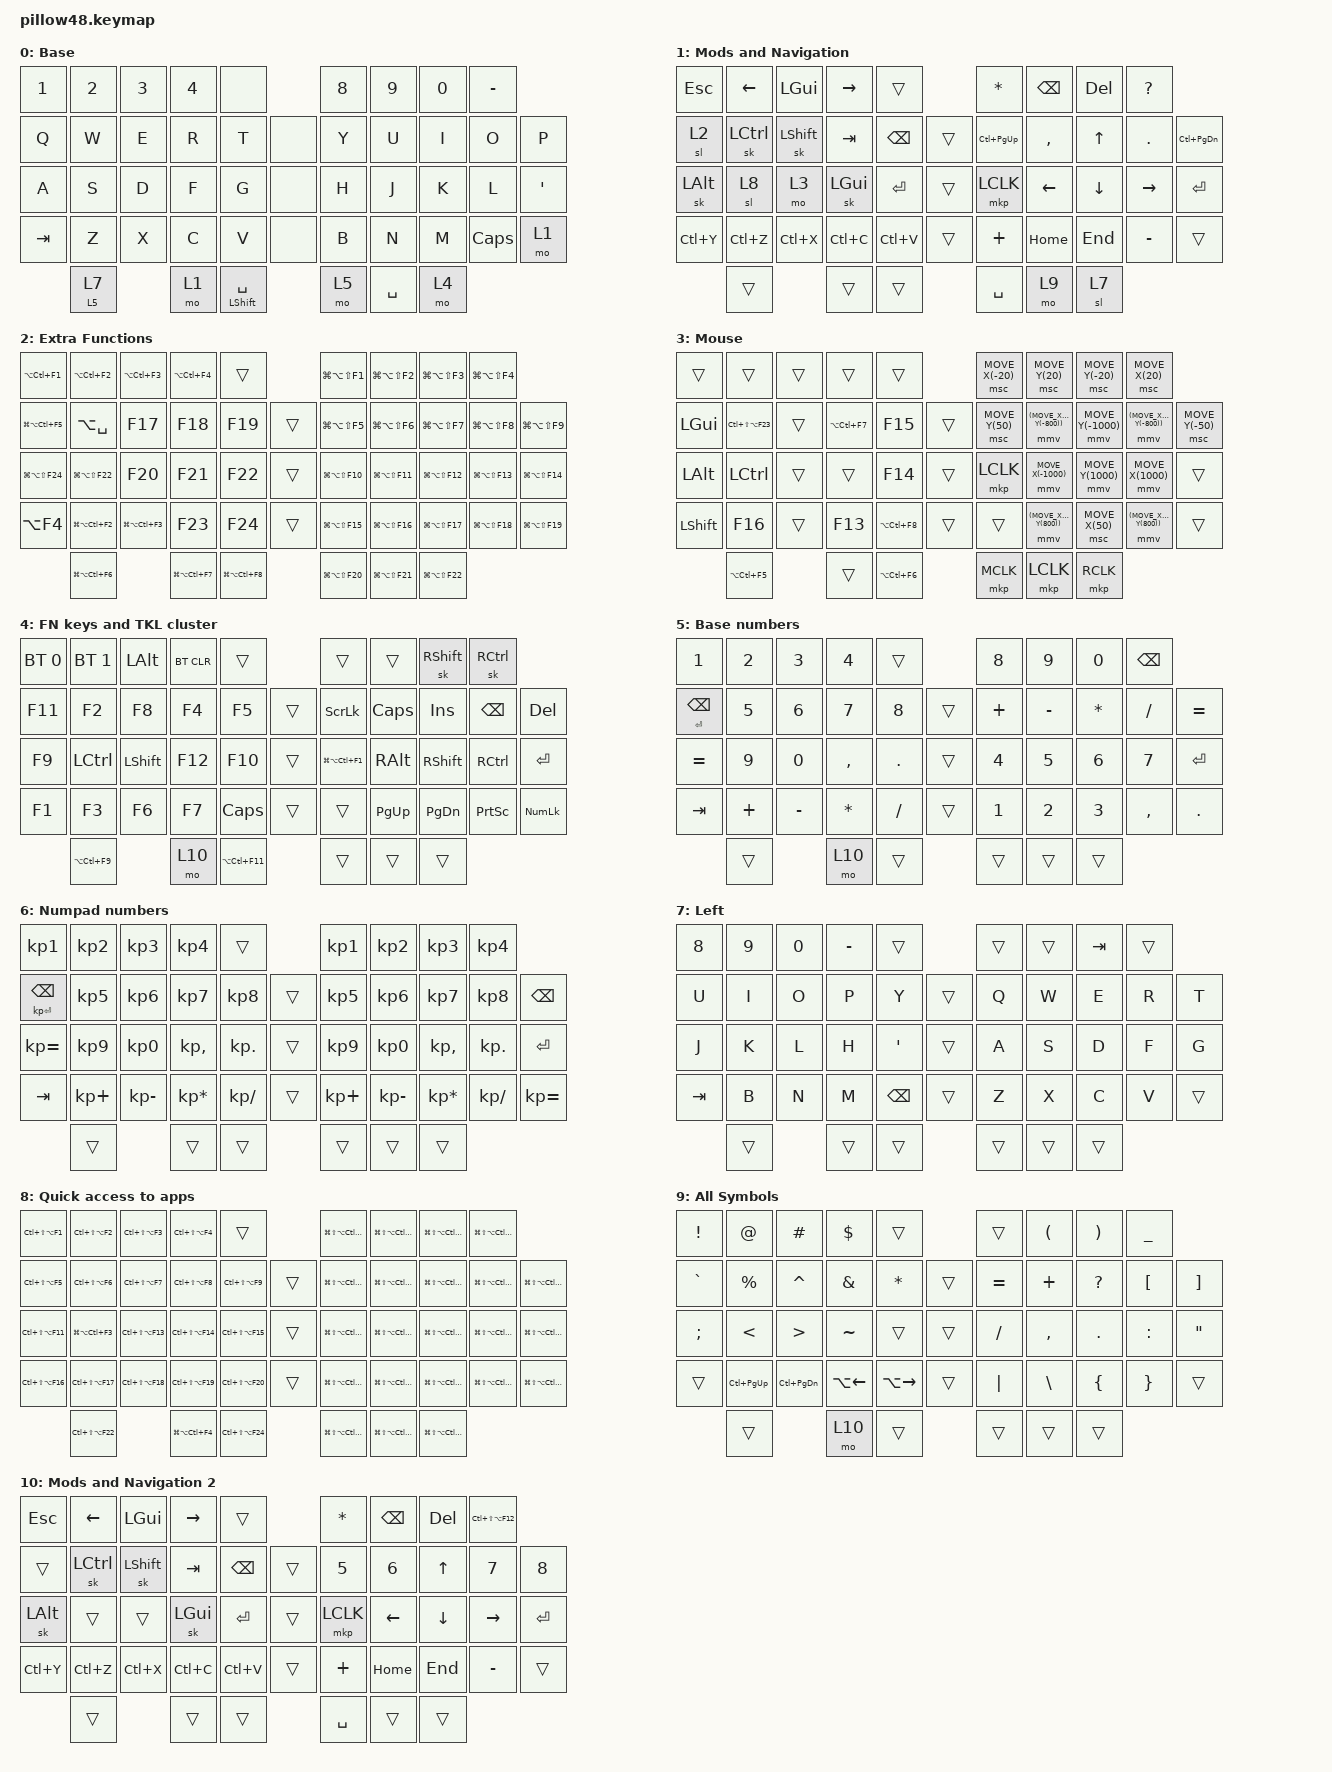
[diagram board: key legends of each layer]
#include <behaviors.dtsi>
#include <dt-bindings/zmk/keys.h>
#include <dt-bindings/zmk/bt.h>
#include <dt-bindings/zmk/mouse.h>
#include <dt-bindings/zmk/pointing.h>

#define BASE 0
#define MODS 1   
#define XFUN 2
#define MOUSE 3
#define FUNC 4
#define NUM1 5
#define NUM2 6
#define FLIP 7
#define APPS 8
#define SYMB 9
#define MOD2 10
//git checkout 7bd6394

/ {

    keymap {
        compatible = "zmk,keymap";
        
        BASE {
            display-name = "Base";
            bindings = <
&kp N1  &kp N2  &kp N3  &kp N4  &none                       &kp N8  &kp N9   &kp N0   &kp MINUS
&kp Q   &kp W   &kp E   &kp R   &kp T   &none               &kp Y   &kp U    &kp I    &kp O         &kp P    
&kp A   &kp S   &kp D   &kp F   &kp G   &none               &kp H   &kp J    &kp K    &kp L         &kp SINGLE_QUOTE
&kp TAB &kp Z   &kp X   &kp C   &kp V   &none               &kp B   &kp N    &kp M    &kp CAPSLOCK  &mo 1
        &mo_sl 5 7      &mo 1   &ht LSHFT SPC               &mo 5   &kp SPC  &mo 4
            >;            
        };

        MODS {
            display-name = "Mods and Navigation";
            bindings = <
            &kp ESC     &kp LEFT    &kp LGUI    &kp RIGHT   &trans          &kp STAR        &kp BSPC    &kp DEL     &kp QUESTION 
&sl 2       &sk LCTRL   &sk LSHFT   &kp TAB     &kp BSPC    &trans          &kp LC(PG_UP)   &kp COMMA   &kp UP      &kp DOT     &kp LC(PG_DN)
&sk LALT    &sl 8       &mo 3       &sk LGUI    &kp ENTER   &trans          &mkp LCLK       &kp LEFT    &kp DOWN    &kp RIGHT   &kp ENTER
&kp LC(Y)   &kp LC(Z)   &kp LC(X)   &kp LC(C)   &kp LC(V)   &trans          &kp PLUS        &kp HOME    &kp END     &kp MINUS   &trans  
                                    &trans      &trans      &trans          &kp SPC         &mo 9       &sl 7
            >;  
        };

        XFUN {
            display-name = "Extra Functions";
            bindings = <
                    &kp LA(LC(F1))      &kp LA(LC(F2))      &kp LA(LC(F3))      &kp LA(LC(F4))      &trans                  &kp LG(LA(LS(F1)))      &kp LG(LA(LS(F2)))      &kp LG(LA(LS(F3)))      &kp LG(LA(LS(F4)))     
&kp LG(LA(LC(F5)))  &kp LA(SPC)         &kp F17             &kp F18             &kp F19             &trans                  &kp LG(LA(LS(F5)))      &kp LG(LA(LS(F6)))      &kp LG(LA(LS(F7)))      &kp LG(LA(LS(F8)))      &kp LG(LA(LS(F9)))
&kp LG(LA(LS(F24))) &kp LG(LA(LS(F22))) &kp F20             &kp F21             &kp F22             &trans                  &kp LG(LA(LS(F10)))     &kp LG(LA(LS(F11)))     &kp LG(LA(LS(F12)))     &kp LG(LA(LS(F13)))     &kp LG(LA(LS(F14)))
&kp LA(F4)          &kp LG(LA(LC(F2)))  &kp LG(LA(LC(F3)))  &kp F23             &kp F24             &trans                  &kp LG(LA(LS(F15)))     &kp LG(LA(LS(F16)))     &kp LG(LA(LS(F17)))     &kp LG(LA(LS(F18)))     &kp LG(LA(LS(F19)))
                                                            &kp LG(LA(LC(F6)))  &kp LG(LA(LC(F7)))  &kp LG(LA(LC(F8)))      &kp LG(LA(LS(F20)))     &kp LG(LA(LS(F21)))     &kp LG(LA(LS(F22)))        
            >;
        };

        MOUSE {
            display-name = "Mouse";
            bindings = <
            &trans              &trans  &trans          &trans          &trans                  &msc MOVE_X(-20)    &msc MOVE_Y(20)                   &msc MOVE_Y(-20)    &msc MOVE_X(20)        
&kp LGUI    &kp LC(LS(LA(F23))) &trans  &kp LA(LC(F7))  &kp F15         &trans                  &msc MOVE_Y(50)     &mmv (MOVE_X(-800)|MOVE_Y(-800))  &mmv MOVE_Y(-1000)  &mmv (MOVE_X(800)|MOVE_Y(-800))   &msc MOVE_Y(-50)              
&kp LALT    &kp LCTRL           &trans  &trans          &kp F14         &trans                  &mkp LCLK           &mmv MOVE_X(-1000)                &mmv MOVE_Y(1000)   &mmv MOVE_X(1000)                 &trans
&kp LSHFT   &kp F16             &trans  &kp F13         &kp LA(LC(F8))  &trans                  &trans              &mmv (MOVE_X(-800)|MOVE_Y(800))   &msc MOVE_X(50)     &mmv (MOVE_X(800)|MOVE_Y(800))    &trans  
                                        &kp LA(LC(F5))  &trans          &kp LA(LC(F6))          &mkp MCLK           &mkp LCLK           &mkp RCLK     
            >;
        };

        FUNC {
            display-name = "FN keys and TKL cluster";
            bindings = <
    &bt BT_SEL 0  &bt BT_SEL 1  &kp LALT    &bt BT_CLR      &trans                  &trans              &trans          &sk RSHFT   &sk RCTRL                                      
&kp F11     &kp F2      &kp F8      &kp F4  &kp F5          &trans                  &kp SCROLLLOCK      &kp CAPSLOCK    &kp INS     &kp BSPC    &kp DEL     
&kp F9      &kp LCTRL   &kp LSHFT   &kp F12 &kp F10         &trans                  &kp LG(LA(LC(F1)))  &kp RALT        &kp RSHFT   &kp RCTRL   &kp ENTER     
&kp F1      &kp F3      &kp F6      &kp F7  &kp CAPSLOCK    &trans                  &trans              &kp PG_UP       &kp PG_DN   &kp PSCRN   &kp KP_NUMLOCK
                        &kp LA(LC(F9))  &mo 10          &kp LA(LC(F11))             &trans              &trans          &trans      
            >;
        };

        NUM1 {
            display-name = "Base numbers";
            bindings = <
                &kp N1      &kp N2      &kp N3      &kp N4      &trans                  &kp N8      &kp N9      &kp N0      &kp BSPC       
&ht ENTER BSPC  &kp N5      &kp N6      &kp N7      &kp N8      &trans                  &kp PLUS    &kp MINUS   &kp STAR    &kp SLASH   &kp EQUAL
&kp EQUAL       &kp N9      &kp N0      &kp COMMA   &kp DOT     &trans                  &kp N4      &kp N5      &kp N6      &kp N7      &kp ENTER
&kp TAB         &kp PLUS    &kp MINUS   &kp STAR    &kp SLASH   &trans                  &kp N1      &kp N2      &kp N3      &kp COMMA   &kp DOT
                                        &trans      &mo 10      &trans                  &trans      &trans      &trans 
            >;
        };

        NUM2 {
            display-name = "Numpad numbers";
            bindings = <
                    &kp KP_N1   &kp KP_N2       &kp KP_N3       &kp KP_N4       &trans          &kp KP_N1   &kp KP_N2       &kp KP_N3           &kp KP_N4       
&ht KP_ENTER BSPC   &kp KP_N5   &kp KP_N6       &kp KP_N7       &kp KP_N8       &trans          &kp KP_N5   &kp KP_N6       &kp KP_N7           &kp KP_N8       &kp BSPC       
&kp KP_EQUAL        &kp KP_N9   &kp KP_N0       &kp KP_COMMA    &kp KP_DOT      &trans          &kp KP_N9   &kp KP_N0       &kp KP_COMMA        &kp KP_DOT      &kp ENTER 
&kp TAB             &kp KP_PLUS &kp KP_MINUS    &kp KP_MULTIPLY &kp KP_DIVIDE   &trans          &kp KP_PLUS &kp KP_MINUS    &kp KP_MULTIPLY     &kp KP_DIVIDE   &kp KP_EQUAL   
                                                &trans          &trans          &trans          &trans      &trans          &trans 
            >;
        };

        FLIP {
            display-name = "Left";
            bindings = <
        &kp N8  &kp N9  &kp N0  &kp MINUS           &trans              &trans  &trans  &kp TAB &trans                             
&kp U   &kp I   &kp O   &kp P   &kp Y               &trans              &kp Q   &kp W   &kp E   &kp R   &kp T   
&kp J   &kp K   &kp L   &kp H   &kp SINGLE_QUOTE    &trans              &kp A   &kp S   &kp D   &kp F   &kp G     
&kp TAB &kp B   &kp N   &kp M   &kp BSPC            &trans              &kp Z   &kp X   &kp C   &kp V   &trans
                        &trans  &trans              &trans              &trans  &trans  &trans 
            >;
        };

        APPS {
            display-name = "Quick access to apps";
            bindings = <
        &kp LC(LS(LA(F1)))  &kp LC(LS(LA(F2)))  &kp LC(LS(LA(F3)))  &kp LC(LS(LA(F4)))   &trans                                     &kp LG(LS(LA(LC(F1))))  &kp LG(LS(LA(LC(F2))))  &kp LG(LS(LA(LC(F3))))  &kp LG(LS(LA(LC(F4))))                             
&kp LC(LS(LA(F5)))  &kp LC(LS(LA(F6)))  &kp LC(LS(LA(F7)))  &kp LC(LS(LA(F8)))  &kp LC(LS(LA(F9)))  &trans                          &kp LG(LS(LA(LC(F5))))  &kp LG(LS(LA(LC(F6))))  &kp LG(LS(LA(LC(F7))))  &kp LG(LS(LA(LC(F8))))  &kp LG(LS(LA(LC(F9))))   
&kp LC(LS(LA(F11))) &kp LG(LA(LC(F3)))  &kp LC(LS(LA(F13))) &kp LC(LS(LA(F14))) &kp LC(LS(LA(F15))) &trans                          &kp LG(LS(LA(LC(F10)))) &kp LG(LS(LA(LC(F11)))) &kp LG(LS(LA(LC(F12)))) &kp LG(LS(LA(LC(F13)))) &kp LG(LS(LA(LC(F14))))
&kp LC(LS(LA(F16))) &kp LC(LS(LA(F17))) &kp LC(LS(LA(F18))) &kp LC(LS(LA(F19))) &kp LC(LS(LA(F20))) &trans                          &kp LG(LS(LA(LC(F15)))) &kp LG(LS(LA(LC(F16)))) &kp LG(LS(LA(LC(F17)))) &kp LG(LS(LA(LC(F18)))) &kp LG(LS(LA(LC(F19))))
                                        &kp LC(LS(LA(F22))) &kp LG(LA(LC(F4)))  &kp LC(LS(LA(F24)))                                 &kp LG(LS(LA(LC(F20)))) &kp LG(LS(LA(LC(F21)))) &kp LG(LS(LA(LC(F22))))
            >;
        };

        SYMB {
            display-name = "All Symbols";
            bindings = <
                &kp EXCL        &kp AT              &kp HASH        &kp DLLR        &trans                      &trans          &kp LPAR        &kp RPAR        &kp UNDERSCORE     
&kp GRAVE       &kp PRCNT       &kp CARET           &kp AMPS        &kp STAR        &trans                      &kp EQUAL       &kp PLUS        &kp QUESTION    &kp LEFT_BRACKET    &kp RIGHT_BRACKET     
&kp SEMICOLON   &kp LESS_THAN   &kp GREATER_THAN    &kp TILDE       &trans          &trans                      &kp SLASH       &kp COMMA       &kp DOT         &kp COLON           &kp DOUBLE_QUOTES
&trans          &kp LC(PG_UP)   &kp LC(PG_DN)       &kp LA(LEFT)    &kp LA(RIGHT)   &trans                      &kp PIPE        &kp BACKSLASH   &kp LEFT_BRACE  &kp RIGHT_BRACE     &trans
                                                    &trans          &mo 10          &trans                      &trans          &trans          &trans     
            >;
        };

        MOD2 {
            display-name = "Mods and Navigation 2";
            bindings = <
            &kp ESC     &kp LEFT    &kp LGUI    &kp RIGHT   &trans          &kp STAR    &kp BSPC    &kp DEL     &kp LC(LS(LA(F12)))
&trans      &sk LCTRL   &sk LSHFT   &kp TAB     &kp BSPC    &trans          &kp N5      &kp N6      &kp UP      &kp N7      &kp N8
&sk LALT    &trans      &trans      &sk LGUI    &kp ENTER   &trans          &mkp LCLK   &kp LEFT    &kp DOWN    &kp RIGHT   &kp ENTER
&kp LC(Y)   &kp LC(Z)   &kp LC(X)   &kp LC(C)   &kp LC(V)   &trans          &kp PLUS    &kp HOME    &kp END     &kp MINUS   &trans  
                                    &trans      &trans      &trans          &kp SPC     &trans      &trans
            >;  
        };
    };

    behaviors {
        ht: hold_tap {
            compatible = "zmk,behavior-hold-tap";
            label = "HOLD_TAP_AltSpace";
            #binding-cells = <2>;
            tapping-term-ms = <150>;
            quick-tap-ms = <0>;
            flavor = "tap-preferred";
            bindings = <&kp>, <&kp>;
        };
        lt_rv: layer_tap_reverse {
            compatible = "zmk,behavior-hold-tap";
            #binding-cells = <2>;
            flavor = "tap-preferred";
            tapping-term-ms = <150>;
            quick-tap-ms = <0>;
            bindings = <&kp>, <&sl>;
        };
        mo_sl: mo_sl {
            compatible = "zmk,behavior-hold-tap";
            #binding-cells = <2>;
            flavor = "hold-preferred";
            tapping-term-ms = <125>;
            bindings = <&mo>, <&sl>;
            display-name = "Mo-Sl";
        };
        mo_kp: mo_kp {
            compatible = "zmk,behavior-hold-tap";
            #binding-cells = <2>;
            flavor = "hold-preferred";
            tapping-term-ms = <125>;
            bindings = <&mo>, <&kp>;
            display-name = "Mo-Kp";
        };
        lt: layer_tap {
            compatible = "zmk,behavior-hold-tap";
            #binding-cells = <2>;
            flavor = "tap-preferred";
            tapping-term-ms = <150>;
            bindings = <&mo>, <&kp>;
            display-name = "Layer-Tap";
        };
        sk: sticky_key {
            compatible = "zmk,behavior-sticky-key";
            label = "STICKY_KEY";
            #binding-cells = <1>;
            bindings = <&kp>;
            release-after-ms = <5000>;   
            quick-release;             
        };
    };
/*
0 1 2 3 4               5 6 7 8
9  10 11 12 13 14       15 16 17 18 19
20 21 22 23 24 25       26 27 28 29 30
31 32 33 34 35 36       37 38 39 40 41
         42 43 44       45 46 47   
*/

    combos {
        compatible = "zmk,combos";

        combo_LCTRL {
            timeout-ms = <50>;
            key-positions = <32 33>;
            bindings = <&kp LCTRL>;
        };         
        combo_LALT {
            timeout-ms = <50>;
            key-positions = <31 32>;
            bindings = <&kp LALT>;
        };

        combo_layer_7 {
            timeout-ms = <50>;
            key-positions = <21 22>;
            bindings = <&sl 7>;
        };

        combo_layer_5 {
            timeout-ms = <50>;
            key-positions = <28 29>;
            bindings = <&mo 5>;
        };

        combo_UP_right_half {
            timeout-ms = <50>;
            key-positions = <37 38>;
            bindings = <&kp UP>;
        }; 
        combo_DOWN_right_half {
            timeout-ms = <50>;
            key-positions = <38 39>;
            bindings = <&kp DOWN>;
        }; 
        combo_RIGHT_right_half {
            timeout-ms = <50>;
            key-positions = <40 41>;
            bindings = <&kp RIGHT>;
        }; 
        combo_LEFT_right_half {
            timeout-ms = <50>;
            key-positions = <39 40>;
            bindings = <&kp LEFT>;
        }; 

        combo_UP {
            timeout-ms = <50>;
            key-positions = <12 13>;
            bindings = <&kp UP>;
        }; 
        combo_DOWN {
            timeout-ms = <50>;
            key-positions = <23 24>;
            bindings = <&kp DOWN>;
        };

        combo_COPY {
            timeout-ms = <50>;
            key-positions = <34 43>;
            bindings = <&kp LC(C)>;
        };

        combo_PASTE {
            timeout-ms = <50>;
            key-positions = <35 43>;
            bindings = <&kp LC(V)>;
        };

        combo_NUM2_sl {
            timeout-ms = <50>;
            key-positions = <33 34>;
            bindings = <&sl 6>;
        }; 

        combo_NUM2_tog {
            timeout-ms = <50>;
            key-positions = <33 34 35>;
            bindings = <&tog 6>;
        }; 

        combo_reset_left {
            timeout-ms = <50>;
            key-positions = <2 3 4>;
            bindings = <&bootloader>;
        };      
        combo_reset_right {
            timeout-ms = <50>;
            key-positions = <5 6 7>;
            bindings = <&bootloader>;
        }; 
        combo_to_BASE {
            timeout-ms = <50>;
            key-positions = <42 43 44>;
            bindings = <&to 0>;
        };
    };
};

    &sl {
        release-after-ms = <4000>;
    };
